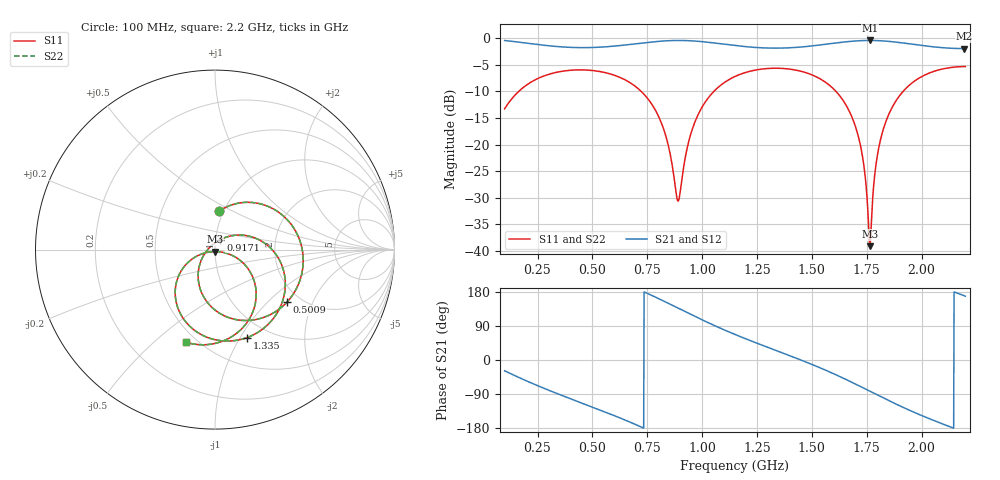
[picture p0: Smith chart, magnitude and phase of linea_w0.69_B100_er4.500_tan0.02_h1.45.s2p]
! Chirptenna · simulación 3D de una microstrip de dos puertos (S12 = S21, S22 = S11 por simetría)
# HZ S RI R 50
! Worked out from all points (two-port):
!   1101 points, 100 MHz to 2.2 GHz, reference 50 ohm
!   highest |S21| = -0.43 dB at 1.765 GHz (marker M1); lowest = -2.0 dB at 2.194 GHz (marker M2)
!   |S21| within 3 dB of the highest: start of sweep to end of sweep
!   lowest |S11| = -39.1 dB at 1.765 GHz (marker M3), VSWR 1.02, Z = 50 - j1.11 ohm
!   |S11| at or under -10 dB: start of sweep to 164.6 MHz; 722.2 MHz to 1.054 GHz (331.8 MHz wide, 37.4 % of centre); 1.61 GHz to 1.916 GHz (306.4 MHz wide, 17.4 % of centre)
!   |S22| runs from -39.1 to -5.3 dB; largest |S21 - S12| = 0
!   S11 on the Smith chart (normalised r, x): 100 MHz: 0.96, +0.43; 500.9 MHz: 1.70, -1.32; 917.1 MHz: 1.06, +0.12; 1.335 GHz: 0.80, -1.07; 2.2 GHz: 0.44, -0.64
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1e8  0.0251 0.2151  0.8346 -0.4535  0.8346 -0.4535  0.0251 0.2151
2.584545e8  0.3797 0.1886  0.3014 -0.8139  0.3014 -0.8139  0.3797 0.1886
4.512727e8  0.4603 -0.2036  -0.3247 -0.7474  -0.3247 -0.7474  0.4603 -0.2036
5.009091e8  0.4015 -0.292  -0.462 -0.6744  -0.462 -0.6744  0.4015 -0.292
6.498182e8  0.1124 -0.389  -0.8034 -0.3148  -0.8034 -0.3148  0.1124 -0.389
8.006364e8  -0.0936 -0.1604  -0.8892 0.2839  -0.8892 0.2839  -0.0936 -0.1604
8.445455e8  -0.0784 -0.0636  -0.8196 0.4731  -0.8196 0.4731  -0.0784 -0.0636
8.884545e8  -0.0232 0.0185  -0.7017 0.643  -0.7017 0.643  -0.0232 0.0185
9.170909e8  0.0301 0.056  -0.6021 0.7354  -0.6021 0.7354  0.0301 0.056
9.991818e8  0.2127 0.0684  -0.2592 0.8908  -0.2592 0.8908  0.2127 0.0684
1.15e9  0.3917 -0.192  0.3275 0.7873  0.3275 0.7873  0.3917 -0.192
1.335182e9  0.1794 -0.4899  0.727 0.3477  0.727 0.3477  0.1794 -0.4899
1.501273e9  -0.1377 -0.4298  0.8277 -0.1733  0.8277 -0.1733  -0.1377 -0.4298
1.613909e9  -0.2207 -0.2171  0.692 -0.5814  0.692 -0.5814  -0.2207 -0.2171
1.690273e9  -0.1499 -0.071  0.455 -0.8208  0.455 -0.8208  -0.1499 -0.071
1.732273e9  -0.071 -0.0232  0.2773 -0.9078  0.2773 -0.9078  -0.071 -0.0232
1.764727e9  0.00017 -0.0111  0.1255 -0.9435  0.1255 -0.9435  0.00017 -0.0111
1.799091e9  0.0757 -0.0241  -0.0394 -0.9477  -0.0394 -0.9477  0.0757 -0.0241
1.850636e9  0.17 -0.0886  -0.2745 -0.892  -0.2745 -0.892  0.17 -0.0886
2.005273e9  0.1824 -0.4004  -0.7194 -0.456  -0.7194 -0.456  0.1824 -0.4004
2.194273e9  -0.1529 -0.5186  -0.7852 0.1433  -0.7852 0.1433  -0.1529 -0.5186
2.2e9  -0.1636 -0.5154  -0.782 0.1604  -0.782 0.1604  -0.1636 -0.5154
